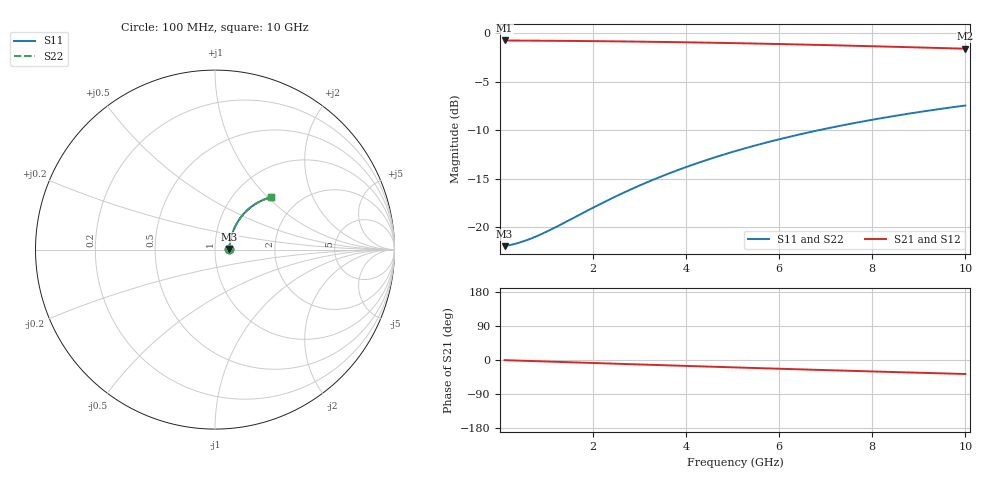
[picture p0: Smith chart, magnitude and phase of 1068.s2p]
# Hz S RI R 50.00
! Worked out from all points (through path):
!   100 points, 100 MHz to 10 GHz, reference 50 ohm
!   highest |S21| = -0.72 dB at 100 MHz (marker M1); lowest = -1.6 dB at 10 GHz (marker M2)
!   group delay of S21, straight-line fit = 10.3 ps
!   lowest |S11| = -22.0 dB at 100 MHz (marker M3), VSWR 1.17, Z = 58.7 + j0.504 ohm
!   |S11| at or under -10 dB: start of sweep to 6.834 GHz
!   |S22| runs from -22.0 to -7.4 dB; largest |S21 - S12| = 0
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1e8  0.0798 0.00427  0.9202 -0.00635  0.9202 -0.00635  0.0798 0.00427
3e8  0.0808 0.0128  0.9191 -0.019  0.9191 -0.019  0.0808 0.0128
4e8  0.0813 0.017  0.9186 -0.0253  0.9186 -0.0253  0.0813 0.017
6e8  0.0824 0.0255  0.9175 -0.038  0.9175 -0.038  0.0824 0.0255
8e8  0.0836 0.0339  0.9163 -0.0505  0.9163 -0.0505  0.0836 0.0339
1.2e9  0.0865 0.0506  0.9132 -0.0756  0.9132 -0.0756  0.0865 0.0506
1.8e9  0.0923 0.0752  0.9069 -0.1127  0.9069 -0.1127  0.0923 0.0752
2.2e9  0.0973 0.0913  0.9016 -0.1371  0.9016 -0.1371  0.0973 0.0913
2.6e9  0.103 0.107  0.8954 -0.1611  0.8954 -0.1611  0.103 0.107
3e9  0.1095 0.1223  0.8884 -0.1848  0.8884 -0.1848  0.1095 0.1223
3.4e9  0.1168 0.1372  0.8805 -0.208  0.8805 -0.208  0.1168 0.1372
3.8e9  0.1249 0.1515  0.8718 -0.2307  0.8718 -0.2307  0.1249 0.1515
4.2e9  0.1336 0.1653  0.8624 -0.2529  0.8624 -0.2529  0.1336 0.1653
4.6e9  0.143 0.1786  0.8522 -0.2745  0.8522 -0.2745  0.143 0.1786
5.1e9  0.1555 0.1943  0.8385 -0.3006  0.8385 -0.3006  0.1555 0.1943
5.5e9  0.1662 0.2061  0.8268 -0.3209  0.8268 -0.3209  0.1662 0.2061
5.9e9  0.1774 0.2173  0.8146 -0.3405  0.8146 -0.3405  0.1774 0.2173
6.7e9  0.2011 0.2375  0.7886 -0.3776  0.7886 -0.3776  0.2011 0.2375
7.5e9  0.2262 0.2549  0.7608 -0.4119  0.7608 -0.4119  0.2262 0.2549
8.4e9  0.2557 0.271  0.728 -0.4472  0.728 -0.4472  0.2557 0.271
9.2e9  0.2826 0.2823  0.6978 -0.4755  0.6978 -0.4755  0.2826 0.2823
1e10  0.3098 0.2908  0.6669 -0.5012  0.6669 -0.5012  0.3098 0.2908
